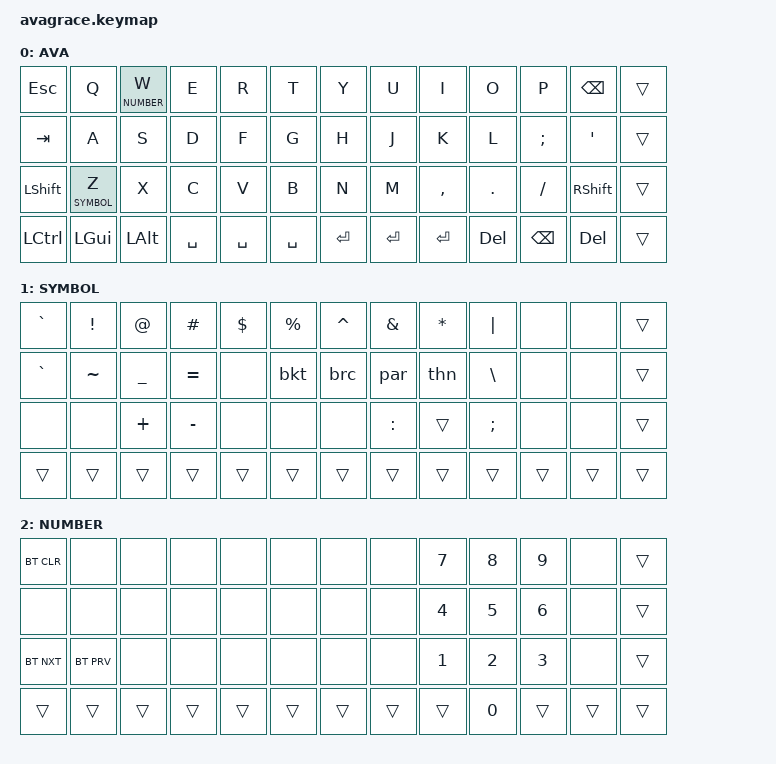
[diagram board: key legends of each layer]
/*
 * Copyright (c) 2024 miketronic
 * SPDX-License-Identifier: MIT
 * Ava Grace
 */

#include <behaviors.dtsi>
#include <input/processors.dtsi>
#include <zephyr/dt-bindings/input/input-event-codes.h>
#include <dt-bindings/zmk/keys.h>
#include <dt-bindings/zmk/bt.h>
#include <dt-bindings/zmk/outputs.h>
#include <dt-bindings/zmk/mouse.h>

#define ALPHA       0
#define SYMBOL      1
#define NUMBER      2

#define NUMW   &lt NUMBER W
#define SYMZ   &lt SYMBOL Z

&mt {
    tapping-term-ms = <160>;
};

&lt {
    tapping-term-ms = <150>;
};


/ {
    combos {

        compatible = "zmk,combos";
        combo_bootloader {
            timeout-ms = <50>;
            key-positions = <1 10>;
            bindings = <&bootloader>;
        };
    };

    behaviors {

        bkt: tap_dance_bracket {
            compatible = "zmk,behavior-tap-dance";
            #binding-cells = <0>;
            tapping-term-ms = <200>;
            bindings = <&kp LBKT>, <&kp RBKT>;
        };

        brc: tap_dance_brace {
            compatible = "zmk,behavior-tap-dance";
            #binding-cells = <0>;
            tapping-term-ms = <200>;
            bindings = <&kp LBRC>, <&kp RBRC>;
        };

        par: tap_dance_paren {
            compatible = "zmk,behavior-tap-dance";
            #binding-cells = <0>;
            tapping-term-ms = <200>;
            bindings = <&kp LPAR>, <&kp RPAR>;
        };

        thn: tap_dance_then {
            compatible = "zmk,behavior-tap-dance";
            #binding-cells = <0>;
            tapping-term-ms = <200>;
            bindings = <&kp LT>, <&kp GT>;
        };

        hrm: homerow_mods {
           compatible = "zmk,behavior-hold-tap";
           #binding-cells = <2>;
           tapping-term-ms = <250>;
           quick-tap-ms = <0>;
           flavor = "tap-preferred";
           bindings = <&kp>, <&kp>;

        };

    };



    keymap {
        compatible = "zmk,keymap";

       ALPHA_layer {
            display-name = "AVA";  
            bindings = <
                &kp ESC   &kp Q NUMW  &kp E &kp R &kp T &kp Y &kp U &kp I &kp O &kp P    &kp BSPC &trans
                &kp TAB   &kp A &kp S &kp D &kp F &kp G &kp H &kp J &kp K &kp L &kp SEMI &kp SQT &trans
                &kp LSHFT SYMZ  &kp X &kp C &kp V &kp B &kp N &kp M &kp COMMA &kp DOT &kp SLASH &kp RSHFT &trans
                &kp LCTRL &kp LGUI &kp LALT &kp SPACE &kp SPACE &kp SPACE &kp RET &kp RET &kp RET &kp DEL &kp BSPC &kp DEL &trans
            >;
        };

        SYMBOL_layer {
            display-name = "SYMBOL";  
            bindings = <
                &kp GRAVE &kp EXCL  &kp AT &kp HASH &kp DLLR &kp PRCNT &kp CARET &kp AMPS &kp STAR &kp PIPE &none &none &trans
                &kp GRAVE &kp TILDE &kp UNDER &kp EQUAL &none  &bkt &brc &par &thn &kp BSLH &none &none &trans
                &none &none &kp PLUS &kp MINUS &none &none &none &kp COLON &trans &kp SEMI &none &none &trans
                &trans &trans &trans &trans &trans &trans &trans &trans &trans &trans &trans &trans &trans
            >;
        };

        NUMBER_layer {
            display-name = "NUMBER";  
            bindings = <
                &bt BT_CLR  &none  &none  &none  &none  &none  &none  &none  &kp N7 &kp N8  &kp N9 &none &trans
                &none  &none  &none  &none  &none  &none  &none  &none  &kp N4 &kp N5  &kp N6 &none &trans
                &bt BT_NXT  &bt BT_PRV  &none  &none  &none  &none  &none  &none  &kp N1 &kp N2  &kp N3 &none &trans
                &trans &trans &trans &trans &trans &trans &trans &trans &trans &kp N0  &trans &trans &trans
            >;
        };

    };
};
